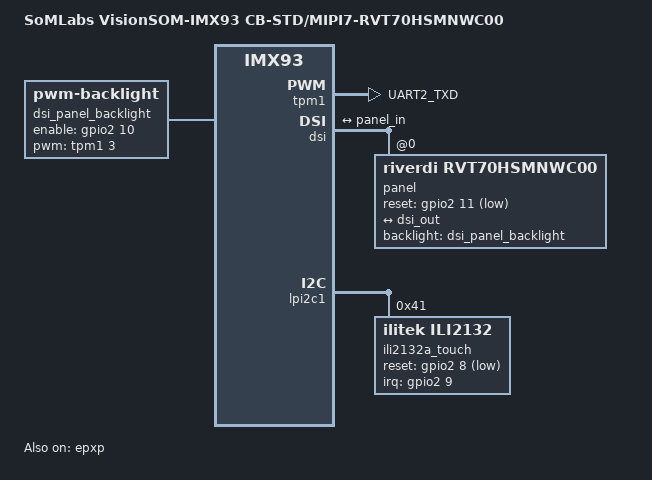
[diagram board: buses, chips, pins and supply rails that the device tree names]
// SPDX-License-Identifier: GPL-2.0-or-later
/*
 * Copyright 2020 SomLabs
 *
 */

#include "visionsom-imx93-cb-std.dtsi"

/ {
	model = "SoMLabs VisionSOM-IMX93 CB-STD/MIPI7-RVT70HSMNWC00";

        dsi_panel_backlight: panel-backlight {
		compatible = "pwm-backlight";
		pinctrl-names = "default";
		pinctrl-0 = <&pinctrl_panel_backlight_en>;
		pwms = <&tpm1 3 5000000 PWM_POLARITY_INVERTED>;

		brightness-levels = <0 4 8 16 32 64 128 255>;
		default-brightness-level = <7>;

		enable-gpios = <&gpio2 10 GPIO_ACTIVE_HIGH>;

		status = "okay";
        };
};

&tpm1 {
	pinctrl-names = "default";
	pinctrl-0 = <&pinctrl_panel_backlight_pwm>;
	status = "okay";
};

&dsi {
	status = "okay";

	#address-cells = <1>;
	#size-cells = <0>;

	ports {
		port@1 {
			reg = <1>;
			dsi_out: endpoint {
				remote-endpoint = <&panel_in>;
			};
		};
	};

	panel@0 {
		compatible = "riverdi,rvt70hsmnwc00";
		reg = <0>;
		pinctrl-names = "default";
		pinctrl-0 = <&pinctrl_panel_reset>;
		reset-gpios = <&gpio2 11 GPIO_ACTIVE_LOW>;
		backlight = <&dsi_panel_backlight>;
		status = "okay";
		port {
			panel_in: endpoint {
				remote-endpoint = <&dsi_out>;
			};
		};
	};
};

&lpi2c1 {
	ili2132a_touch: ili2132a@41 {
		compatible = "ilitek,ili2132";
		reg = <0x41>;
		pinctrl-names = "default";
		pinctrl-0 = <&pinctrl_touch>;
		interrupt-parent = <&gpio2>;
		interrupts = <9 IRQ_TYPE_EDGE_FALLING>;
		reset-gpios = <&gpio2 8 GPIO_ACTIVE_LOW>;
		status = "okay";
	};
};

&epxp {
	status = "okay";
};

&iomuxc {
	pinctrl_panel_backlight_en: panel_backlight_en {
		fsl,pins = <
			MX93_PAD_GPIO_IO10__GPIO2_IO10                  0x31e
		>;
	};

	pinctrl_panel_backlight_pwm: panel_backlight_pwm {
		fsl,pins = <
			MX93_PAD_UART2_TXD__TPM1_CH3                    0x31e
		>;
	};

	pinctrl_panel_reset: panelrstgrp {
		fsl,pins = <
			MX93_PAD_GPIO_IO11__GPIO2_IO11                  0x31e
		>;
	};

	pinctrl_touch: touchgpio {
		fsl,pins = <
			MX93_PAD_GPIO_IO09__GPIO2_IO09                  0x31e
			MX93_PAD_GPIO_IO08__GPIO2_IO08                  0x31e
		>;
	};
};
